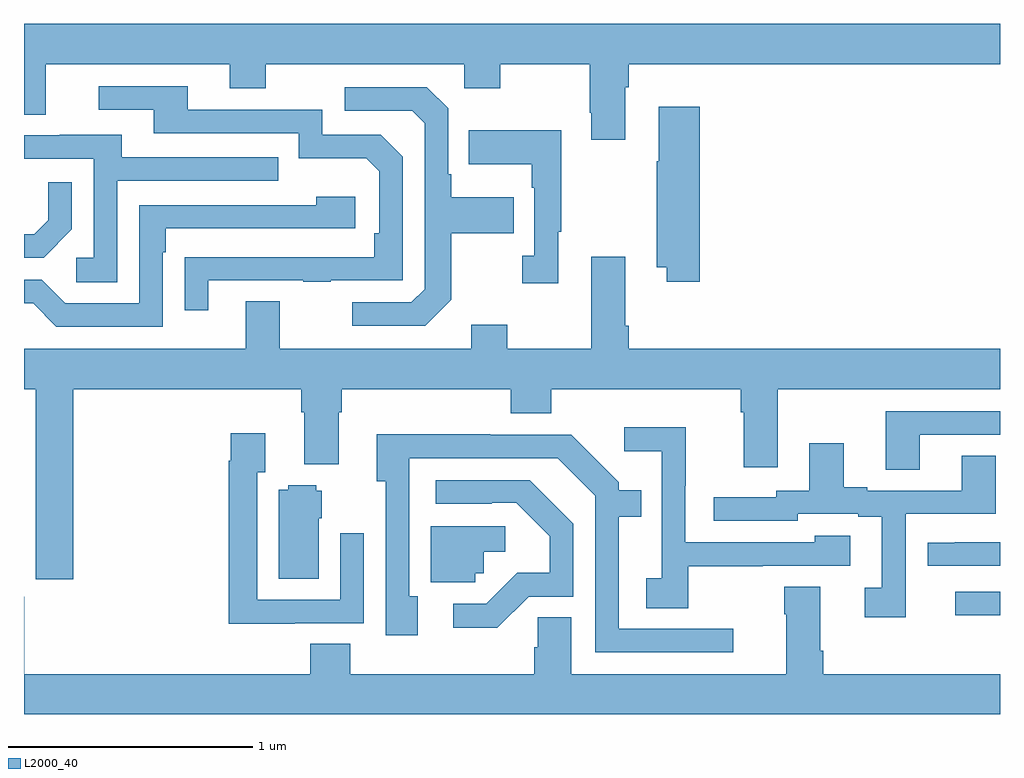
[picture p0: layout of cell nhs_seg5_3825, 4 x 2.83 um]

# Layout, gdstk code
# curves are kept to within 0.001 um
import gdstk
lib = gdstk.Library(unit=1e-6, precision=1e-09)
def R(c, l, rs):  # rectangles x0, y0, x1, y1
    for r in rs: c.add(gdstk.rectangle(r[:2], r[2:], *l))
def P(c, l, *ps):  # polygons
    for p in ps: c.add(gdstk.Polygon(p, *l))
L2000_40 = (2000, 40)

nhs_seg5_3825 = lib.new_cell('nhs_seg5_3825')
R(nhs_seg5_3825, L2000_40, [(338.817,907.78,339,907.878)])
P(nhs_seg5_3825, L2000_40, [(337.465,909.944),(337.478,909.944),(337.478,910.04),(339,910.04),(339,910.204),(335,910.204),(335,909.832),(335.089,909.832),(335.089,910.04),(335.843,910.04),(335.843,909.941),(335.991,909.941),(335.991,910.04),(336.804,910.04),(336.804,909.941),(336.951,909.941),(336.951,910.04),(337.318,910.04),(337.318,909.841),(337.325,909.841),(337.325,909.729),(337.465,909.729)],
  [(335.755,909.153),(336.145,909.153),(336.145,909.148),(336.257,909.148),(336.257,909.153),(336.552,909.153),(336.552,909.66),(336.462,909.75),(336.222,909.75),(336.222,909.852),(335.671,909.852),(335.671,909.948),(335.307,909.948),(335.307,909.852),(335.531,909.852),(335.531,909.756),(336.126,909.756),(336.126,909.653),(336.403,909.653),(336.456,909.6),(336.456,909.346),(336.436,909.346),(336.436,909.249),(335.659,909.248),(335.659,909.03),(335.755,909.03)],
  [(336.751,909.073),(336.751,909.346),(337.007,909.346),(337.007,909.493),(336.751,909.493),(336.751,909.589),(336.738,909.589),(336.738,909.858),(336.651,909.945),(336.315,909.945),(336.315,909.849),(336.591,909.849),(336.642,909.798),(336.642,909.117),(336.588,909.063),(336.345,909.063),(336.345,908.967),(336.645,908.967)],
  [(337.769,909.865),(337.601,909.865),(337.601,909.641),(337.594,909.641),(337.594,909.206),(337.634,909.206),(337.634,909.147),(337.769,909.147)],
  [(337.189,909.353),(337.201,909.353),(337.201,909.769),(336.823,909.769),(336.823,909.629),(337.08,909.629),(337.08,909.533),(337.092,909.533),(337.092,909.254),(337.041,909.254),(337.041,909.141),(337.189,909.141)],
  [(335.382,909.561),(336.041,909.561),(336.041,909.657),(335.401,909.657),(335.401,909.751),(335.147,909.751),(335.147,909.747),(335,909.747),(335,909.651),(335.286,909.651),(335.286,909.246),(335.214,909.246),(335.214,909.145),(335.382,909.145)],
  [(335.196,909.362),(335.196,909.556),(335.099,909.556),(335.099,909.399),(335.042,909.342),(335,909.342),(335,909.246),(335.08,909.246)],
  [(335.568,909.269),(335.581,909.269),(335.581,909.366),(336.358,909.366),(336.358,909.496),(336.197,909.496),(336.197,909.462),(335.472,909.462),(335.472,909.06),(335.169,909.06),(335.073,909.156),(335,909.156),(335,909.06),(335.037,909.06),(335.133,908.964),(335.568,908.964)],
  [(335.201,908.708),(336.137,908.708),(336.137,908.612),(336.149,908.612),(336.149,908.399),(336.289,908.399),(336.289,908.612),(336.302,908.612),(336.302,908.708),(336.995,908.708),(336.995,908.609),(337.16,908.609),(337.16,908.708),(337.937,908.708),(337.937,908.612),(337.949,908.612),(337.949,908.388),(338.089,908.388),(338.089,908.708),(339,908.708),(339,908.872),(337.478,908.872),(337.478,908.968),(337.465,908.968),(337.465,909.25),(337.325,909.25),(337.325,908.872),(336.981,908.872),(336.981,908.971),(336.833,908.971),(336.833,908.872),(336.049,908.872),(336.049,909.067),(335.909,909.067),(335.909,908.872),(335,908.872),(335,908.708),(335.048,908.708),(335.048,907.929),(335.201,907.929)],
  [(338.671,908.52),(339,908.52),(339,908.616),(338.531,908.616),(338.531,908.377),(338.671,908.377)],
  [(337.723,907.981),(338.027,907.981),(338.027,907.983),(338.386,907.983),(338.386,908.107),(338.241,908.107),(338.241,908.079),(337.71,908.079),(337.71,908.312),(337.713,908.312),(337.713,908.551),(337.461,908.551),(337.461,908.453),(337.614,908.453),(337.614,907.932),(337.551,907.932),(337.551,907.81),(337.723,907.81)],
  [(336.109,907.749),(336.393,907.749),(336.393,908.116),(336.297,908.116),(336.297,907.845),(335.955,907.845),(335.955,908.366),(335.989,908.366),(335.989,908.527),(335.847,908.527),(335.847,908.414),(335.839,908.414),(335.839,907.745),(336.109,907.745)],
  [(337.906,907.725),(337.438,907.725),(337.438,908.184),(337.529,908.184),(337.529,908.293),(337.437,908.293),(337.437,908.325),(337.242,908.52),(336.911,908.52),(336.911,908.522),(336.446,908.522),(336.446,908.33),(336.483,908.33),(336.483,907.698),(336.613,907.698),(336.613,907.858),(336.579,907.858),(336.579,908.424),(337.188,908.424),(337.341,908.271),(337.341,907.629),(337.906,907.629)],
  [(338.613,908.196),(338.983,908.196),(338.983,908.435),(338.843,908.435),(338.843,908.292),(338.455,908.292),(338.455,908.305),(338.359,908.305),(338.359,908.485),(338.219,908.485),(338.219,908.292),(338.082,908.292),(338.082,908.265),(337.827,908.265),(337.827,908.169),(338.172,908.169),(338.172,908.196),(338.42,908.196),(338.42,908.184),(338.516,908.184),(338.516,907.893),(338.445,907.893),(338.445,907.773),(338.613,907.773)],
  [(337.068,907.857),(337.251,907.857),(337.251,908.155),(337.072,908.334),(336.687,908.334),(336.687,908.238),(336.917,908.238),(336.917,908.241),(337.017,908.241),(337.154,908.104),(337.154,907.954),(337.021,907.954),(336.894,907.827),(336.759,907.827),(336.759,907.73),(336.94,907.73)],
  [(336.208,908.178),(336.22,908.178),(336.22,908.292),(336.198,908.292),(336.198,908.314),(336.084,908.314),(336.084,908.296),(336.044,908.296),(336.044,907.93),(336.208,907.93)],
  [(336.849,907.953),(336.885,907.953),(336.885,908.042),(336.973,908.042),(336.973,908.145),(336.668,908.145),(336.668,907.917),(336.849,907.917)],
  [(339,908.079),(338.815,908.079),(338.815,908.078),(338.703,908.078),(338.703,907.983),(339,907.983)],
  [(339,907.54),(338.276,907.54),(338.276,907.636),(338.263,907.636),(338.263,907.897),(338.116,907.897),(338.116,907.784),(338.123,907.784),(338.123,907.54),(337.243,907.54),(337.243,907.772),(337.105,907.772),(337.105,907.65),(337.091,907.65),(337.091,907.54),(336.338,907.54),(336.338,907.664),(336.173,907.664),(336.173,907.54),(335.002,907.54),(335.002,907.857),(335,907.857),(335,907.376),(339,907.376)])

lib.write_gds('nhs_seg5_3825.gds')
